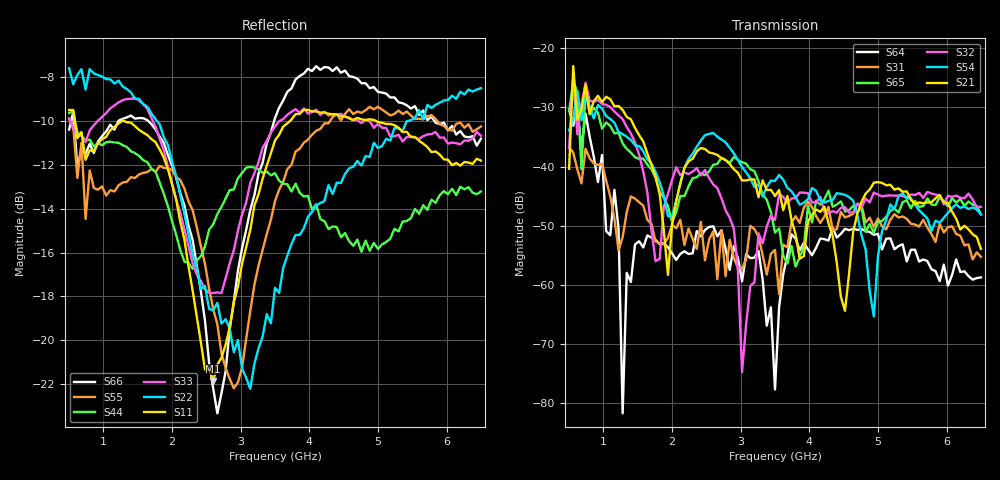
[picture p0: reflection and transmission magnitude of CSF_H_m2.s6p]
!Keysight Technologies,M9804A,MY58100912,A.14.10.03
!Date: Thursday, April 27, 2023 10:28:33
!Correction: S11(C  6-Port  )
!S12(C  6-Port  )
!S13(C  6-Port  )
!S14(C  6-Port  )
!S15(C  6-Port  )
!S16(C  6-Port  )
!S21(C  6-Port  )
!S22(C  6-Port  )
!S23(C  6-Port  )
!S24(C  6-Port  )
!S25(C  6-Port  )
!S26(C  6-Port  )
!S31(C  6-Port  )
!S32(C  6-Port  )
!S33(C  6-Port  )
!S34(C  6-Port  )
!S35(C  6-Port  )
!S36(C  6-Port  )
!S41(C  6-Port  )
!S42(C  6-Port  )
!S43(C  6-Port  )
!S44(C  6-Port  )
!S45(C  6-Port  )
!S46(C  6-Port  )
!S51(C  6-Port  )
!S52(C  6-Port  )
!S53(C  6-Port  )
!S54(C  6-Port  )
!S55(C  6-Port  )
!S56(C  6-Port  )
!S61(C  6-Port  )
!S62(C  6-Port  )
!S63(C  6-Port  )
!S64(C  6-Port  )
!S65(C  6-Port  )
!S66(C  6-Port  )
!S6P File: Measurement: :
# Hz S  RI  R 50
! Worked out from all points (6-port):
!   101 points, 500 MHz to 6.5 GHz, reference 50 ohm
!   strongest paths, dB at 500 MHz, 2 GHz, 3.5 GHz, 5 GHz, 6.5 GHz:
!     S21: -40.4, -49.9, -45.0, -42.6, -53.9
!     S54: -33.9, -48.6, -42.4, -55.2, -48.1
!     S32: -36.9, -42.3, -49.0, -44.7, -46.8
!     S65: -30.7, -49.4, -51.2, -49.3, -48.1
!     S31: -36.7, -49.9, -54.1, -48.8, -55.3
!     S64: -30.3, -54.7, -77.7, -51.4, -58.8
!   lowest |S11| = -21.8 dB at 2.6 GHz (marker M1), VSWR 1.18, Z = 42.8 + j1.92 ohm
!   |S11| at or under -10 dB: 582.5 MHz to 1.275 GHz (692.2 MHz wide, 74.5 % of centre); 1.289 GHz to 3.722 GHz (2.433 GHz wide, 97.1 % of centre); 4.961 GHz to end of sweep
